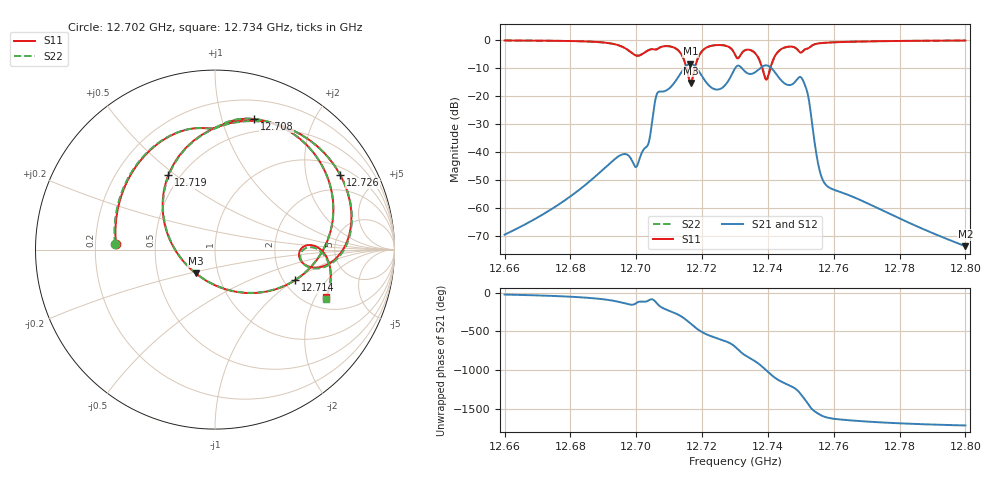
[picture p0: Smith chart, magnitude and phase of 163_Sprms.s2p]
! TOUCHSTONE file generated by CST MICROWAVE STUDIO
! Date and time: Wed Jul 31 19:05:31 2024
! Project name: WaveGuide_BPF-Ver4.1_U-shape_Ku_T3_C4_CWA_2.cst
! Parameters = {cavity_h=16; cavity_l0=10; cavity_l1=15.1911; cavity_l2=16.8827; cavity_l3=17.1078; cavity_l4=17.2768; cavity_l5=17.0914; cavity_l6=17.6204; cavity_r=2.5; cavity_screw_l=0.5; cavity_screw_r=1.5; cavity_w=8; iris_h00=0; iris_h01=8.8127; iris_h112=0; iris_h12=5.5918; iris_h211=3.6522; 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
! Header version: 2018
! Port assignment regex: !\s*Touchstone port\s*([0-9]+)\s*=\s*(CST MWS port|CST DS port)\s*([0-9]+|Zmin|Zmax)\s*\(\"(.*)\"\)(\s*mode\s*([0-9]+))?.*
! Touchstone port assignment:
! Touchstone port 1 = CST MWS port 1 ("")
! Touchstone port 2 = CST MWS port 2 ("")
# GHz S RI R 50
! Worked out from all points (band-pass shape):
!   5001 points, 12.66 GHz to 12.8 GHz, reference 50 ohm
!   highest |S21| = -8.46 dB at 12.716 GHz (marker M1); lowest = -73.6 dB at 12.8 GHz (marker M2)
!   |S21| within 3 dB of the highest: 12.71372 GHz to 12.7192 GHz (5.473 MHz wide, 0.043 % of centre); 12.73619 GHz to 12.74208 GHz (5.895 MHz wide, 0.0463 % of centre) (the widest 2 of 3)
!   lowest |S11| = -15.4 dB at 12.717 GHz (marker M3), VSWR 1.41, Z = 39 - j10.6 ohm
!   |S11| at or under -10 dB: 12.71525 GHz to 12.71778 GHz (2.529 MHz wide, 0.0199 % of centre); 12.73824 GHz to 12.74073 GHz (2.491 MHz wide, 0.0195 % of centre)
!   |S22| runs from -15.4 to -0.2 dB; largest |S21 - S12| = 1e-09
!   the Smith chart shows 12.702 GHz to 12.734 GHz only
!   S11 on the Smith chart (normalised r, x): 12.702 GHz: 0.29, +0.03; 12.708 GHz: 0.37, +1.28; 12.714 GHz: 2.30, -1.02; 12.719 GHz: 0.43, +0.47; 12.726 GHz: 1.29, +3.15; 12.734 GHz: 2.55, -2.46
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12.66  0.2776 0.9415  0.000313 -0.000121  0.000313 -0.000121  0.2853 0.9391
12.68335  0.7216 0.6159  0.00123 -0.00192  0.00123 -0.00192  0.7297 0.6057
12.69444  0.7871 -0.1967  -0.00329 -0.00758  -0.00329 -0.00758  0.7804 -0.2166
12.69856  0.072 -0.5887  -0.00651 -0.0033  -0.00651 -0.0033  0.0546 -0.5934
12.70166  -0.5518 0.0308  -0.00367 -0.00893  -0.00367 -0.00893  -0.5576 0.0308
12.70668  0.0592 0.7043  -0.1058 -0.0515  -0.1058 -0.0515  0.0524 0.7049
12.70774  0.2191 0.7271  -0.1187 0.0182  -0.1187 0.0182  0.2125 0.7288
12.71426  0.4462 -0.1705  0.2323 0.1865  0.2323 0.1865  0.4505 -0.1664
12.71648  -0.0968 -0.1409  0.3048 -0.223  0.3048 -0.223  -0.0924 -0.1425
12.71653  -0.1084 -0.1317  0.2966 -0.2336  0.2966 -0.2336  -0.1042 -0.1335
12.71883  -0.2601 0.4138  -0.1307 -0.2573  -0.1307 -0.2573  -0.2574 0.4137
12.72572  0.698 0.4149  -0.0581 0.1226  -0.0581 0.1226  0.7024 0.4079
12.73  0.5407 -0.0989  0.2861 0.1219  0.2861 0.1219  0.5458 -0.1044
12.73389  0.619 -0.2635  -0.0845 -0.2387  -0.0845 -0.2387  0.6172 -0.2761
12.73876  -0.2021 -0.1406  -0.087 0.3351  -0.087 0.3351  -0.2015 -0.1653
12.74184  0.2964 0.3785  0.2739 -0.052  0.2739 -0.052  0.2822 0.3727
12.74501  0.7259 -0.0972  0.00113 -0.1688  0.00113 -0.1688  0.7201 -0.1102
12.75033  0.3814 -0.4731  -0.0631 0.1962  -0.0631 0.1962  0.3653 -0.4829
12.75335  0.3587 -0.709  0.0146 -0.0318  0.0146 -0.0318  0.3412 -0.714
12.75758  -0.0357 -0.8935  -0.00258 -0.000384  -0.00258 -0.000384  -0.0573 -0.8929
12.77668  -0.8854 -0.3628  -0.00035 0.000725  -0.00035 0.000725  -0.8916 -0.349
12.8  -0.9597 0.1932  3.13e-05 0.000206  3.13e-05 0.000206  -0.9579 0.2031
